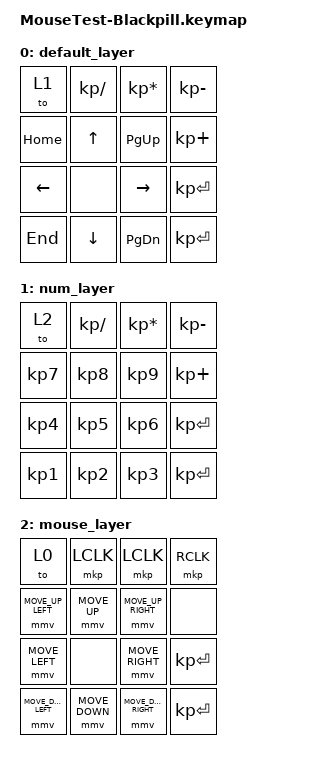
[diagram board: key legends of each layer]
#include <behaviors.dtsi>
#include <dt-bindings/zmk/keys.h>
#include <dt-bindings/zmk/bt.h>
#include <dt-bindings/zmk/outputs.h>
#include <dt-bindings/zmk/mouse.h>

// helper.h from https://github.com/urob/zmk-nodefree-config/tree/main
#include "helper.h"

#define MOVE_DIAG(vert,hor) (((vert)&0xFFFF) | (((hor)&0xFFFF) << 16))
#define MOVE_UP_LEFT     MOVE_DIAG(-ZMK_MOUSE_DEFAULT_MOVE_VAL, -ZMK_MOUSE_DEFAULT_MOVE_VAL)
#define MOVE_UP_RIGHT    MOVE_DIAG(-ZMK_MOUSE_DEFAULT_MOVE_VAL, ZMK_MOUSE_DEFAULT_MOVE_VAL)
#define MOVE_DOWN_LEFT   MOVE_DIAG(ZMK_MOUSE_DEFAULT_MOVE_VAL, -ZMK_MOUSE_DEFAULT_MOVE_VAL)
#define MOVE_DOWN_RIGHT  MOVE_DIAG(ZMK_MOUSE_DEFAULT_MOVE_VAL, ZMK_MOUSE_DEFAULT_MOVE_VAL)


&mt {
    tapping-term-ms = <400>;
};


/ {
    // macros {
    //     makro_move_left: zed_em_kay1 {
    //         compatible = "zmk,behavior-macro";
    //         #binding-cells = <0>;
    //         bindings = <&mmv MOVE_LEFT>;
    //     };

    //     makro_move_right: zed_em_kay2 {
    //         compatible = "zmk,behavior-macro";
    //         #binding-cells = <0>;
    //         bindings = <&mmv MOVE_RIGHT>;
    //     };

    //     makro_tap_mod_mmv: zed_em_kay3 {
    //         compatible = "zmk,behavior-macro";
    //         #binding-cells = <0>;
    //         bindings = <&tog 1>;
    //     };
    // };

    // behaviors {
    //     xaxis_encoder: encoder {
    //         compatible = "zmk,behavior-sensor-rotate";
    //         #sensor-binding-cells = <0>; // const
    //         bindings = <&makro_move_left>, <&makro_move_right>;
    //     };
    // };
// &mt KP_N0 &makro_tap_mod_mmv
    keymap {
        compatible = "zmk,keymap";
        default_layer {
            bindings = <
              &to 1                 &kp KP_DIVIDE     &kp KP_MULTIPLY   &kp KP_MINUS
              &kp HOME              &kp UP            &kp PG_UP         &kp KP_PLUS
              &kp LEFT              &none             &kp RIGHT         &kp KP_ENTER
              &kp END               &kp DOWN          &kp PG_DN         &kp KP_ENTER
            >;

            //sensor-bindings = <&xaxis_encoder>;
        };

        num_layer {
            bindings = <
                &to 2               &kp KP_DIVIDE     &kp KP_MULTIPLY   &kp KP_MINUS
                &kp KP_N7           &kp KP_N8         &kp KP_N9         &kp KP_PLUS
                &kp KP_N4           &kp KP_N5         &kp KP_N6         &kp KP_ENTER
                &kp KP_N1           &kp KP_N2         &kp KP_N3         &kp KP_ENTER
            >;
        };

        mouse_layer {
            bindings = <
                &to 0                   &mkp LCLK         &mkp LCLK             &mkp RCLK
                &mmv MOVE_UP_LEFT       &mmv MOVE_UP      &mmv MOVE_UP_RIGHT    &none
                &mmv MOVE_LEFT          &none             &mmv MOVE_RIGHT       &kp KP_ENTER
                &mmv MOVE_DOWN_LEFT     &mmv MOVE_DOWN    &mmv MOVE_DOWN_RIGHT  &kp KP_ENTER
            >;
        };
    };
};
